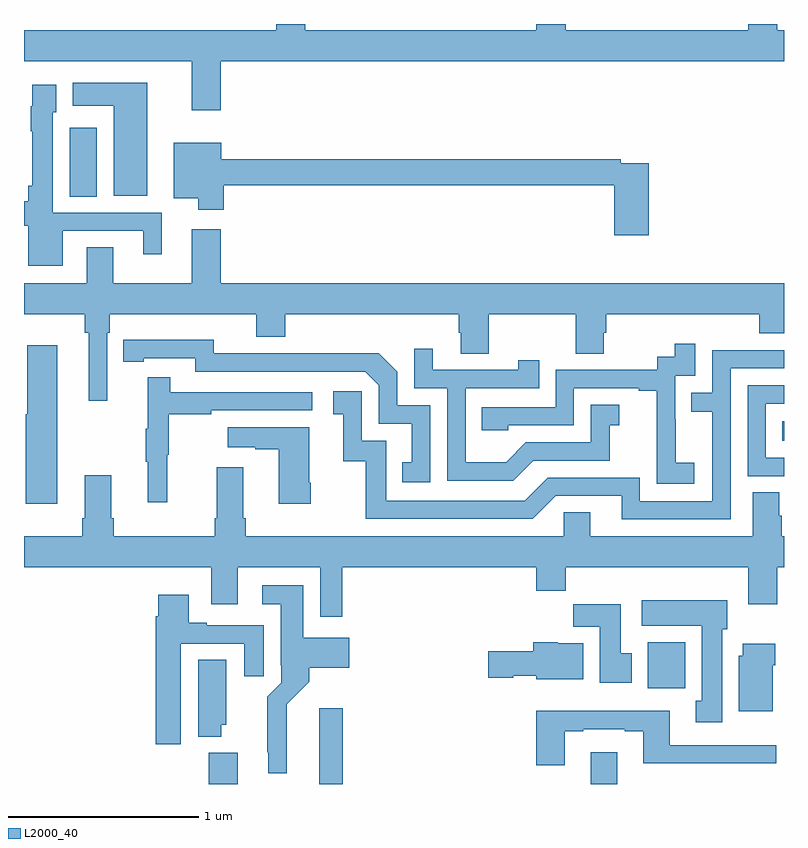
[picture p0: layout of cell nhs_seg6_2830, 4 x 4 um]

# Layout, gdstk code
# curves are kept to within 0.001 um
import gdstk
lib = gdstk.Library(unit=1e-6, precision=1e-09)
def R(c, l, rs):  # rectangles x0, y0, x1, y1
    for r in rs: c.add(gdstk.rectangle(r[:2], r[2:], *l))
def P(c, l, *ps):  # polygons
    for p in ps: c.add(gdstk.Polygon(p, *l))
L2000_40 = (2000, 40)

nhs_seg6_2830 = lib.new_cell('nhs_seg6_2830')
R(nhs_seg6_2830, L2000_40, [(277.973,975.5,278.125,975.664), (278.555,975.5,278.678,975.898), (279.983,975.5,280.123,975.667), (280.283,976.004,280.48,976.246), (280.99,977.306,281,977.41), (277.241,978.592,277.384,978.955)])
P(nhs_seg6_2830, L2000_40, [(278.036,979.304),(281,979.304),(281,979.468),(280.964,979.468),(280.964,979.5),(280.811,979.5),(280.811,979.468),(279.851,979.468),(279.851,979.5),(279.695,979.5),(279.695,979.468),(278.48,979.468),(278.48,979.5),(278.327,979.5),(278.327,979.468),(277,979.468),(277,979.304),(277.883,979.304),(277.883,979.047),(278.036,979.047)],
  [(277.648,979.192),(277.256,979.192),(277.256,979.07),(277.472,979.07),(277.472,978.596),(277.648,978.596)],
  [(277.204,978.411),(277.628,978.411),(277.628,978.288),(277.726,978.288),(277.726,978.507),(277.152,978.507),(277.152,979.035),(277.171,979.035),(277.171,979.18),(277.044,979.18),(277.044,979.067),(277.036,979.067),(277.036,978.935),(277.044,978.935),(277.044,978.649),(277.022,978.649),(277.022,978.566),(277,978.566),(277,978.438),(277.022,978.438),(277.022,978.227),(277.204,978.227)],
  [(280.289,978.768),(280.142,978.768),(280.142,978.788),(278.038,978.788),(278.038,978.874),(277.787,978.874),(277.787,978.584),(277.916,978.584),(277.916,978.522),(278.051,978.522),(278.051,978.652),(280.106,978.652),(280.106,978.387),(280.289,978.387)],
  [(277.437,977.876),(277.451,977.876),(277.451,977.972),(278.222,977.972),(278.222,977.855),(278.375,977.855),(278.375,977.972),(279.287,977.972),(279.287,977.874),(279.299,977.874),(279.299,977.764),(279.447,977.764),(279.447,977.972),(279.904,977.972),(279.904,977.764),(280.051,977.764),(280.051,977.874),(280.064,977.874),(280.064,977.972),(280.871,977.972),(280.871,977.873),(281,977.873),(281,978.136),(278.036,978.136),(278.036,978.421),(277.883,978.421),(277.883,978.136),(277.471,978.136),(277.471,978.326),(277.331,978.326),(277.331,978.136),(277,978.136),(277,977.972),(277.321,977.972),(277.321,977.876),(277.34,977.876),(277.34,977.517),(277.437,977.517)],
  [(279.138,977.493),(278.964,977.493),(278.964,977.67),(278.866,977.768),(278.458,977.768),(278.458,977.766),(277.998,977.766),(277.998,977.839),(277.522,977.838),(277.522,977.722),(277.63,977.722),(277.63,977.742),(277.902,977.742),(277.902,977.67),(278.796,977.67),(278.868,977.598),(278.868,977.397),(279.041,977.397),(279.041,977.193),(278.992,977.193),(278.992,977.088),(279.138,977.088)],
  [(280.528,977.191),(280.43,977.191),(280.43,977.42),(280.428,977.42),(280.428,977.649),(280.533,977.649),(280.533,977.818),(280.425,977.818),(280.425,977.748),(280.332,977.748),(280.332,977.679),(279.798,977.679),(279.798,977.484),(279.409,977.484),(279.409,977.361),(279.549,977.361),(279.549,977.388),(279.894,977.388),(279.894,977.583),(280.235,977.583),(280.235,977.571),(280.331,977.571),(280.331,977.287),(280.33,977.287),(280.33,977.081),(280.528,977.081)],
  [(277.174,977.809),(277.016,977.809),(277.016,977.445),(277.01,977.445),(277.01,976.974),(277.174,976.974)],
  [(279.679,977.202),(280.083,977.202),(280.083,977.387),(280.132,977.387),(280.132,977.497),(279.984,977.497),(279.984,977.298),(279.642,977.298),(279.538,977.194),(279.324,977.194),(279.324,977.583),(279.713,977.583),(279.713,977.731),(279.602,977.731),(279.602,977.679),(279.151,977.679),(279.151,977.791),(279.054,977.791),(279.054,977.583),(279.228,977.583),(279.228,977.097),(279.574,977.097)],
  [(280.719,977.688),(281,977.688),(281,977.784),(280.623,977.784),(280.623,977.559),(280.513,977.559),(280.513,977.458),(280.623,977.458),(280.623,976.989),(280.242,976.989),(280.242,977.112),(279.756,977.112),(279.636,976.992),(278.907,976.992),(278.907,977.307),(278.778,977.307),(278.778,977.566),(278.628,977.566),(278.628,977.445),(278.681,977.445),(278.681,977.199),(278.799,977.199),(278.799,976.896),(279.678,976.896),(279.798,977.016),(280.145,977.016),(280.145,976.893),(280.719,976.893)],
  [(277.754,977.232),(277.762,977.232),(277.762,977.446),(277.985,977.446),(277.985,977.466),(278.518,977.466),(278.518,977.562),(277.769,977.562),(277.769,977.641),(277.652,977.641),(277.652,977.369),(277.641,977.369),(277.641,977.195),(277.652,977.195),(277.652,976.983),(277.754,976.983)],
  [(281,977.217),(280.905,977.217),(280.905,977.502),(281,977.502),(281,977.598),(280.809,977.598),(280.809,977.121),(281,977.121)],
  [(278.508,977.086),(278.5,977.086),(278.5,977.377),(278.073,977.377),(278.073,977.273),(278.216,977.273),(278.216,977.263),(278.342,977.263),(278.342,976.974),(278.508,976.974)],
  [(278.675,976.64),(279.695,976.64),(279.695,976.516),(279.851,976.516),(279.851,976.64),(280.811,976.64),(280.811,976.446),(280.964,976.446),(280.964,976.64),(281,976.64),(281,976.804),(280.988,976.804),(280.988,976.913),(280.974,976.913),(280.974,977.036),(280.835,977.036),(280.835,976.804),(279.979,976.804),(279.979,976.931),(279.84,976.931),(279.84,976.804),(278.168,976.804),(278.168,976.9),(278.155,976.9),(278.155,977.167),(278.015,977.167),(278.015,976.9),(278.003,976.9),(278.003,976.804),(277.472,976.804),(277.472,976.9),(277.459,976.9),(277.459,977.125),(277.319,977.125),(277.319,976.9),(277.307,976.9),(277.307,976.804),(277,976.804),(277,976.64),(277.985,976.64),(277.985,976.446),(278.125,976.446),(278.125,976.64),(278.559,976.64),(278.559,976.38),(278.675,976.38)],
  [(278.383,975.92),(278.501,976.038),(278.501,976.112),(278.713,976.112),(278.713,976.27),(278.47,976.27),(278.47,976.546),(278.253,976.546),(278.253,976.445),(278.351,976.445),(278.351,976.126),(278.355,976.126),(278.355,976.032),(278.281,975.958),(278.281,975.667),(278.285,975.667),(278.285,975.557),(278.383,975.557)],
  [(277.825,976.239),(278.159,976.239),(278.159,976.068),(278.263,976.068),(278.263,976.335),(277.963,976.335),(277.963,976.348),(277.867,976.348),(277.867,976.495),(277.706,976.495),(277.706,976.382),(277.694,976.382),(277.694,975.708),(277.825,975.708)],
  [(280.675,976.314),(280.702,976.314),(280.702,976.468),(280.251,976.468),(280.251,976.334),(280.568,976.334),(280.568,975.938),(280.535,975.938),(280.535,975.825),(280.675,975.825)],
  [(280.198,976.188),(280.141,976.188),(280.141,976.447),(279.892,976.447),(279.892,976.328),(280.031,976.328),(280.031,976.032),(280.198,976.032)],
  [(279.943,976.24),(279.81,976.24),(279.81,976.246),(279.68,976.246),(279.68,976.2),(279.444,976.2),(279.444,976.058),(279.576,976.058),(279.576,976.07),(279.696,976.07),(279.696,976.052),(279.943,976.052)],
  [(280.942,976.124),(280.955,976.124),(280.955,976.237),(280.784,976.237),(280.784,976.176),(280.763,976.176),(280.763,975.884),(280.942,975.884)],
  [(278.038,975.813),(278.065,975.813),(278.065,976.154),(277.916,976.154),(277.916,975.749),(278.038,975.749)],
  [(279.847,975.777),(279.943,975.777),(279.943,975.789),(280.163,975.789),(280.163,975.777),(280.259,975.777),(280.259,975.608),(280.96,975.608),(280.96,975.705),(280.399,975.705),(280.399,975.886),(279.695,975.886),(279.695,975.6),(279.847,975.6)])

lib.write_gds('nhs_seg6_2830.gds')
